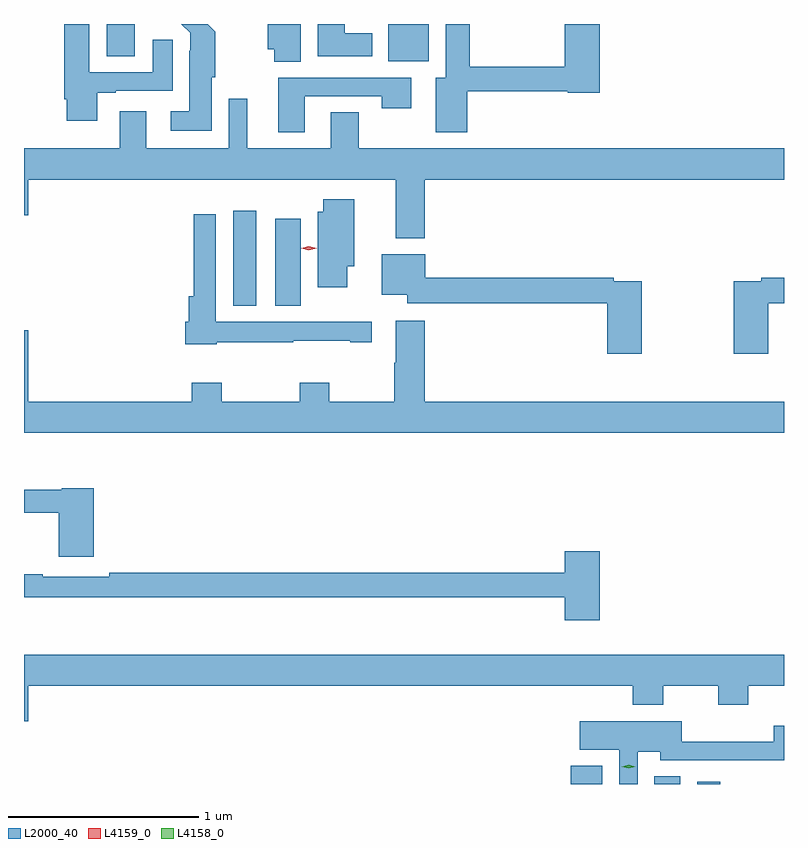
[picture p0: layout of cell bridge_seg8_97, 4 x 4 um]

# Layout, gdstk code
import gdstk
lib = gdstk.Library(unit=1e-6, precision=1e-09)
def R(c, l, rs):  # rectangles x0, y0, x1, y1
    for r in rs: c.add(gdstk.rectangle(r[:2], r[2:], *l))
def P(c, l, *ps):  # polygons
    for p in ps: c.add(gdstk.Polygon(p, *l))
L2000_40 = (2000, 40)
L4158_0 = (4158, 0)
L4159_0 = (4159, 0)

bridge_seg8_97 = lib.new_cell('bridge_seg8_97')
R(bridge_seg8_97, L2000_40, [(767.426,1103.995,767.593,1104.091), (767.867,1103.995,768.004,1104.035), (768.092,1103.995,768.214,1104.007), (765.65,1106.512,765.772,1107.013), (765.872,1106.512,766.006,1106.971), (766.466,1107.8,766.678,1107.995), (764.984,1107.826,765.133,1107.995)])
P(bridge_seg8_97, L2000_40, [(766.006,1107.995),(765.833,1107.995),(765.833,1107.863),(765.865,1107.863),(765.865,1107.796),(766.006,1107.796)],
  [(766.381,1107.946),(766.237,1107.946),(766.237,1107.995),(766.094,1107.995),(766.094,1107.824),(766.381,1107.824)],
  [(765.538,1107.714),(765.556,1107.714),(765.556,1107.955),(765.516,1107.995),(765.376,1107.995),(765.423,1107.948),(765.423,1107.854),(765.419,1107.854),(765.419,1107.535),(765.321,1107.535),(765.321,1107.434),(765.538,1107.434)],
  [(766.882,1107.642),(767.412,1107.642),(767.412,1107.634),(767.579,1107.634),(767.579,1107.994),(767.396,1107.994),(767.396,1107.77),(766.895,1107.77),(766.895,1107.995),(766.769,1107.995),(766.769,1107.712),(766.715,1107.712),(766.715,1107.426),(766.882,1107.426)],
  [(764.935,1107.633),(765.031,1107.633),(765.031,1107.645),(765.331,1107.645),(765.331,1107.913),(765.227,1107.913),(765.227,1107.741),(764.893,1107.741),(764.893,1107.995),(764.762,1107.995),(764.762,1107.598),(764.774,1107.598),(764.774,1107.486),(764.935,1107.486)],
  [(766.027,1107.615),(766.432,1107.615),(766.432,1107.552),(766.588,1107.552),(766.588,1107.711),(765.887,1107.711),(765.887,1107.426),(766.027,1107.426)],
  [(766.658,1107.176),(768.549,1107.176),(768.549,1107.34),(766.311,1107.34),(766.311,1107.53),(766.163,1107.53),(766.163,1107.34),(765.724,1107.34),(765.724,1107.601),(765.627,1107.601),(765.627,1107.34),(765.193,1107.34),(765.193,1107.535),(765.053,1107.535),(765.053,1107.34),(764.549,1107.34),(764.549,1106.988),(764.572,1106.988),(764.572,1107.176),(766.505,1107.176),(766.505,1106.867),(766.658,1106.867)],
  [(766.249,1106.72),(766.288,1106.72),(766.288,1107.073),(766.123,1107.073),(766.123,1107.007),(766.094,1107.007),(766.094,1106.61),(766.249,1106.61)],
  [(765.564,1106.319),(765.965,1106.319),(765.965,1106.329),(766.265,1106.329),(766.265,1106.319),(766.378,1106.319),(766.378,1106.429),(766.102,1106.429),(766.102,1106.427),(765.558,1106.427),(765.558,1106.995),(765.442,1106.995),(765.442,1106.563),(765.416,1106.563),(765.416,1106.427),(765.398,1106.427),(765.398,1106.309),(765.564,1106.309)],
  [(767.801,1106.64),(767.654,1106.64),(767.654,1106.66),(766.66,1106.66),(766.66,1106.782),(766.433,1106.782),(766.433,1106.57),(766.566,1106.57),(766.566,1106.524),(767.618,1106.524),(767.618,1106.259),(767.801,1106.259)],
  [(768.467,1106.524),(768.549,1106.524),(768.549,1106.66),(768.43,1106.66),(768.43,1106.64),(768.284,1106.64),(768.284,1106.259),(768.467,1106.259)],
  [(768.549,1106.008),(766.658,1106.008),(766.658,1106.434),(766.505,1106.434),(766.505,1106.213),(766.498,1106.213),(766.498,1106.008),(766.155,1106.008),(766.155,1106.107),(766,1106.107),(766,1106.008),(765.591,1106.008),(765.591,1106.107),(765.431,1106.107),(765.431,1106.008),(764.572,1106.008),(764.572,1106.383),(764.549,1106.383),(764.549,1105.844),(768.549,1105.844)],
  [(764.915,1105.551),(764.748,1105.551),(764.748,1105.543),(764.549,1105.543),(764.549,1105.422),(764.732,1105.422),(764.732,1105.191),(764.915,1105.191)],
  [(767.579,1105.219),(767.396,1105.219),(767.396,1105.106),(764.998,1105.106),(764.998,1105.086),(764.648,1105.086),(764.648,1105.099),(764.549,1105.099),(764.549,1104.978),(767.396,1104.978),(767.396,1104.858),(767.579,1104.858)],
  [(764.572,1104.512),(767.753,1104.512),(767.753,1104.413),(767.913,1104.413),(767.913,1104.512),(768.202,1104.512),(768.202,1104.413),(768.362,1104.413),(768.362,1104.512),(768.549,1104.512),(768.549,1104.676),(764.549,1104.676),(764.549,1104.324),(764.572,1104.324)],
  [(767.778,1104.164),(767.897,1104.164),(767.897,1104.12),(768.407,1104.12),(768.407,1104.119),(768.549,1104.119),(768.549,1104.301),(768.496,1104.301),(768.496,1104.218),(768.01,1104.218),(768.01,1104.325),(767.475,1104.325),(767.475,1104.176),(767.682,1104.176),(767.682,1103.995),(767.778,1103.995)])
P(bridge_seg8_97, L4158_0, [(767.731,1104.077),(767.696,1104.086),(767.696,1104.087),(767.696,1104.087),(767.731,1104.097),(767.766,1104.087),(767.766,1104.087),(767.766,1104.086)])
P(bridge_seg8_97, L4159_0, [(766.048,1106.805),(766.007,1106.815),(766.007,1106.815),(766.007,1106.815),(766.048,1106.825),(766.089,1106.815),(766.09,1106.815),(766.089,1106.815)])

lib.write_gds('bridge_seg8_97.gds')
